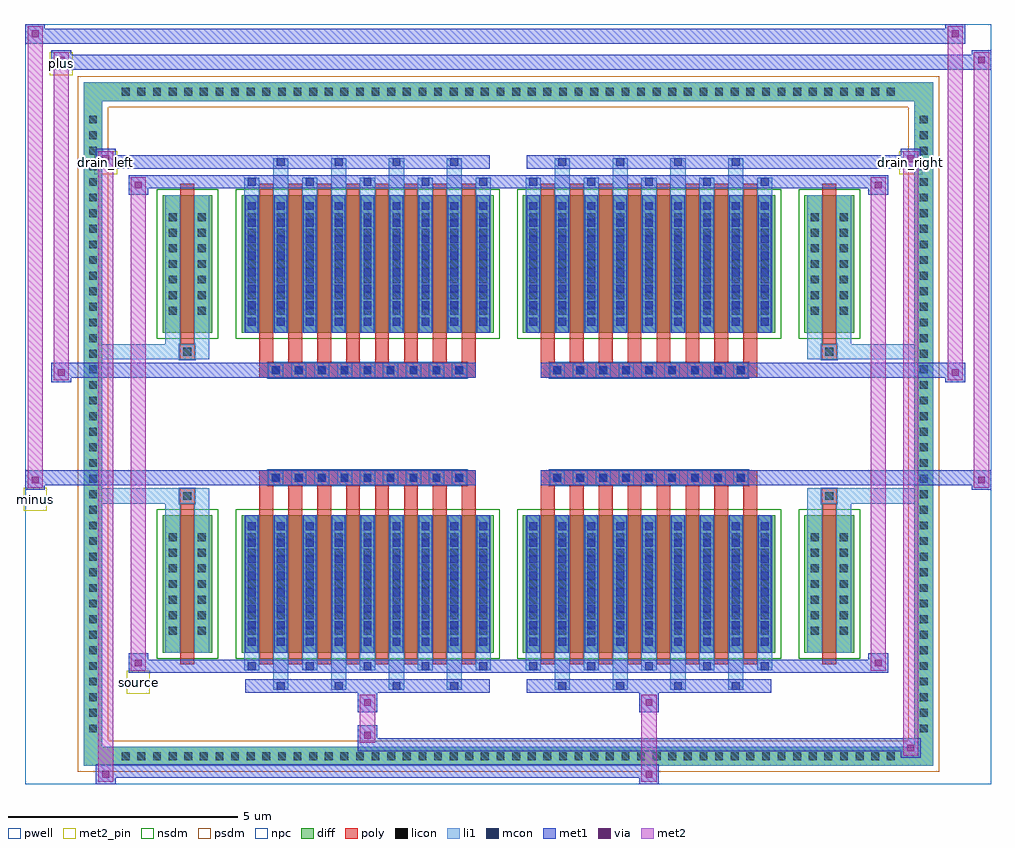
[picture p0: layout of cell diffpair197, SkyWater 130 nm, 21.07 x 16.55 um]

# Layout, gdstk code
import gdstk
lib = gdstk.Library(unit=1e-6, precision=5e-09)
def R(c, l, rs):  # rectangles x0, y0, x1, y1
    for r in rs: c.add(gdstk.rectangle(r[:2], r[2:], *l))
def A(c, l, x, y, w, h, nx, ny, dx, dy):  # array of equal rectangles
    R(c, l, [(x+i*dx, y+j*dy, x+i*dx+w, y+j*dy+h) for i in range(nx) for j in range(ny)])
def P(c, l, *ps):  # polygons
    for p in ps: c.add(gdstk.Polygon(p, *l))
pwell = (64, 44)
diff = (65, 20)
poly = (66, 20)
licon = (66, 44)
li1 = (67, 20)
mcon = (67, 44)
met1 = (68, 20)
via = (68, 44)
met2_pin = (69, 16)
met2 = (69, 20)
nsdm = (93, 44)
psdm = (94, 20)
npc = (95, 20)

diffpair197 = lib.new_cell('diffpair197')
R(diffpair197, pwell, [(-10.52,-7.84,10.52,8.71), (-7.84,-6.03,-0.01,-0.805), (0.01,-6.03,7.84,-0.805), (-7.84,0.805,-0.01,6.03), (0.01,0.805,7.84,6.03)])
A(diffpair197, diff, -8.535, -7.44, 0.41, 0.41, 50, 2, 0.34, 14.47)
A(diffpair197, diff, -9.25, -6.835, 0.41, 0.41, 1, 40, 0, 0.34)
A(diffpair197, diff, 8.84, -6.835, 0.41, 0.41, 1, 40, 0, 0.34)
R(diffpair197, diff, [(-8.535,-7.44,8.535,-7.03), (-9.25,-6.835,-8.84,6.835), (8.84,-6.835,9.25,6.835), (-7.53,-4.985,-6.45,-1.985), (-5.81,-4.985,-0.32,-1.985), (0.32,-4.985,5.81,-1.985), (6.45,-4.985,7.53,-1.985), (-7.53,1.985,-6.45,4.985), (-5.81,1.985,-0.32,4.985), (0.32,1.985,5.81,4.985), (6.45,1.985,7.53,4.985), (-8.535,7.03,8.535,7.44)])
P(diffpair197, diff, [(9.25,7.44),(-9.25,7.44),(-9.25,-7.03),(-8.84,-7.03),(-8.84,7.03),(8.84,7.03),(8.84,-7.03),(-8.84,-7.03),(-9.25,-7.03),(-9.25,-7.44),(9.25,-7.44)])
A(diffpair197, poly, -5.42, -5.235, 0.3, 3.5, 8, 2, 0.63, 6.97)
A(diffpair197, poly, 0.71, -5.235, 0.3, 3.5, 8, 2, 0.63, 6.97)
A(diffpair197, poly, -5.42, -1.735, 0.3, 0.4, 8, 2, 0.63, 3.07)
A(diffpair197, poly, 0.71, -1.735, 0.3, 0.4, 8, 2, 0.63, 3.07)
A(diffpair197, poly, -5.23, -1.335, 0.33, 0.33, 9, 2, 0.5, 2.34)
A(diffpair197, poly, 0.9, -1.335, 0.33, 0.33, 9, 2, 0.5, 2.34)
R(diffpair197, poly, [(-7.14,-5.235,-6.84,-1.735), (6.84,-5.235,7.14,-1.735), (-7.155,-1.735,-6.825,-1.405), (-7.155,-1.735,-6.825,-1.405), (6.825,-1.735,7.155,-1.405), (6.825,-1.735,7.155,-1.405), (-5.42,-1.335,-0.71,-1.005), (0.71,-1.335,5.42,-1.005), (-5.42,1.005,-0.71,1.335), (0.71,1.005,5.42,1.335), (-7.155,1.405,-6.825,1.735), (-7.155,1.405,-6.825,1.735), (6.825,1.405,7.155,1.735), (6.825,1.405,7.155,1.735), (-7.14,1.735,-6.84,5.235), (6.84,1.735,7.14,5.235)])
A(diffpair197, licon, -8.415, -7.32, 0.17, 0.17, 50, 2, 0.34, 14.47)
A(diffpair197, licon, -9.13, -6.715, 0.17, 0.17, 1, 40, 0, 0.34)
A(diffpair197, licon, 8.96, -6.715, 0.17, 0.17, 1, 40, 0, 0.34)
A(diffpair197, licon, -7.39, -4.59, 0.17, 0.17, 1, 7, 0, 0.34)
A(diffpair197, licon, -6.76, -4.59, 0.17, 0.17, 1, 7, 0, 0.34)
A(diffpair197, licon, -5.67, -4.59, 0.17, 0.17, 9, 7, 0.63, 0.34)
A(diffpair197, licon, 0.46, -4.59, 0.17, 0.17, 9, 7, 0.63, 0.34)
A(diffpair197, licon, 6.59, -4.59, 0.17, 0.17, 1, 7, 0, 0.34)
A(diffpair197, licon, 7.22, -4.59, 0.17, 0.17, 1, 7, 0, 0.34)
A(diffpair197, licon, -5.15, -1.255, 0.17, 0.17, 9, 2, 0.5, 2.34)
A(diffpair197, licon, 0.98, -1.255, 0.17, 0.17, 9, 2, 0.5, 2.34)
A(diffpair197, licon, -7.39, 2.38, 0.17, 0.17, 1, 7, 0, 0.34)
A(diffpair197, licon, -6.76, 2.38, 0.17, 0.17, 1, 7, 0, 0.34)
A(diffpair197, licon, -5.67, 2.38, 0.17, 0.17, 9, 7, 0.63, 0.34)
A(diffpair197, licon, 0.46, 2.38, 0.17, 0.17, 9, 7, 0.63, 0.34)
A(diffpair197, licon, 6.59, 2.38, 0.17, 0.17, 1, 7, 0, 0.34)
A(diffpair197, licon, 7.22, 2.38, 0.17, 0.17, 1, 7, 0, 0.34)
R(diffpair197, licon, [(-7.075,-1.655,-6.905,-1.485), (6.905,-1.655,7.075,-1.485), (-7.075,1.485,-6.905,1.655), (6.905,1.485,7.075,1.655)])
A(diffpair197, li1, -8.495, -7.4, 0.33, 0.33, 50, 2, 0.34, 14.47)
A(diffpair197, li1, -9.21, -6.795, 0.33, 0.33, 1, 40, 0, 0.34)
A(diffpair197, li1, 8.88, -6.795, 0.33, 0.33, 1, 40, 0, 0.34)
A(diffpair197, li1, -5.12, -5.79, 0.33, 0.805, 4, 2, 1.26, 10.775)
A(diffpair197, li1, -5.04, -5.79, 0.17, 0.17, 4, 2, 1.26, 11.41)
A(diffpair197, li1, 1.01, -5.79, 0.33, 0.805, 4, 2, 1.26, 10.775)
A(diffpair197, li1, 1.09, -5.79, 0.17, 0.17, 4, 2, 1.26, 11.41)
A(diffpair197, li1, -5.75, -5.36, 0.33, 0.375, 5, 2, 1.26, 10.345)
A(diffpair197, li1, -5.67, -5.36, 0.17, 0.17, 5, 2, 1.26, 10.55)
A(diffpair197, li1, 0.38, -5.36, 0.33, 0.375, 5, 2, 1.26, 10.345)
A(diffpair197, li1, 0.46, -5.36, 0.17, 0.17, 5, 2, 1.26, 10.55)
A(diffpair197, li1, -5.75, -4.985, 0.33, 3, 9, 2, 0.63, 6.97)
A(diffpair197, li1, 0.38, -4.985, 0.33, 3, 9, 2, 0.63, 6.97)
A(diffpair197, li1, -5.67, -4.83, 0.17, 0.17, 9, 8, 0.63, 0.36)
A(diffpair197, li1, -5.67, -4.83, 0.17, 2.69, 9, 2, 0.63, 6.97)
A(diffpair197, li1, 0.46, -4.83, 0.17, 0.17, 9, 8, 0.63, 0.36)
A(diffpair197, li1, 0.46, -4.83, 0.17, 2.69, 9, 2, 0.63, 6.97)
A(diffpair197, li1, -7.47, -4.67, 0.33, 0.33, 1, 7, 0, 0.34)
A(diffpair197, li1, -6.84, -4.67, 0.33, 0.33, 1, 7, 0, 0.34)
A(diffpair197, li1, -5.75, -4.67, 0.33, 0.33, 9, 7, 0.63, 0.34)
A(diffpair197, li1, 0.38, -4.67, 0.33, 0.33, 9, 7, 0.63, 0.34)
A(diffpair197, li1, 6.51, -4.67, 0.33, 0.33, 1, 7, 0, 0.34)
A(diffpair197, li1, 7.14, -4.67, 0.33, 0.33, 1, 7, 0, 0.34)
A(diffpair197, li1, -5.23, -1.335, 0.33, 0.33, 9, 2, 0.5, 2.34)
A(diffpair197, li1, 0.9, -1.335, 0.33, 0.33, 9, 2, 0.5, 2.34)
A(diffpair197, li1, -5.67, 2.14, 0.17, 0.17, 9, 8, 0.63, 0.36)
A(diffpair197, li1, 0.46, 2.14, 0.17, 0.17, 9, 8, 0.63, 0.36)
A(diffpair197, li1, -7.47, 2.3, 0.33, 0.33, 1, 7, 0, 0.34)
A(diffpair197, li1, -6.84, 2.3, 0.33, 0.33, 1, 7, 0, 0.34)
A(diffpair197, li1, -5.75, 2.3, 0.33, 0.33, 9, 7, 0.63, 0.34)
A(diffpair197, li1, 0.38, 2.3, 0.33, 0.33, 9, 7, 0.63, 0.34)
A(diffpair197, li1, 6.51, 2.3, 0.33, 0.33, 1, 7, 0, 0.34)
A(diffpair197, li1, 7.14, 2.3, 0.33, 0.33, 1, 7, 0, 0.34)
R(diffpair197, li1, [(-9.25,-7.44,-8.84,-7.03), (-9.25,-7.44,-8.84,-7.03), (-8.84,-7.44,8.84,-7.03), (8.84,-7.44,9.25,-7.03), (8.84,-7.44,9.25,-7.03), (-9.25,-7.03,-8.84,7.03), (8.84,-7.03,9.25,7.03), (-7.47,-4.985,-7.14,-1.985), (-6.84,-4.985,-6.51,-1.985), (6.51,-4.985,6.84,-1.985), (7.14,-4.985,7.47,-1.985), (-7.47,-1.985,-7.14,-1.405), (-6.84,-1.985,-6.51,-1.405), (6.51,-1.985,6.84,-1.405), (7.14,-1.985,7.47,-1.405), (-9.25,-1.735,-7.155,-1.405), (-7.47,-1.735,-7.155,-1.405), (-7.155,-1.735,-6.825,-1.405), (-6.825,-1.735,-6.51,-1.405), (6.51,-1.735,6.825,-1.405), (6.825,-1.735,7.155,-1.405), (6.825,-1.735,9.25,-1.405), (7.155,-1.735,7.47,-1.405), (-9.25,1.405,-7.155,1.735), (-7.47,1.405,-7.155,1.735), (-7.47,1.405,-7.14,1.985), (-7.155,1.405,-6.825,1.735), (-6.84,1.405,-6.51,1.985), (-6.825,1.405,-6.51,1.735), (6.51,1.405,6.825,1.735), (6.51,1.405,6.84,1.985), (6.825,1.405,7.155,1.735), (6.825,1.405,9.25,1.735), (7.14,1.405,7.47,1.985), (7.155,1.405,7.47,1.735), (-7.47,1.985,-7.14,4.985), (-6.84,1.985,-6.51,4.985), (6.51,1.985,6.84,4.985), (7.14,1.985,7.47,4.985), (-9.25,7.03,-8.84,7.44), (-9.25,7.03,-8.84,7.44), (-8.84,7.03,8.84,7.44), (8.84,7.03,9.25,7.44), (8.84,7.03,9.25,7.44)])
A(diffpair197, mcon, -5.04, -5.79, 0.17, 0.17, 4, 2, 1.26, 11.41)
A(diffpair197, mcon, 1.09, -5.79, 0.17, 0.17, 4, 2, 1.26, 11.41)
A(diffpair197, mcon, -5.67, -5.36, 0.17, 0.17, 5, 2, 1.26, 10.55)
A(diffpair197, mcon, 0.46, -5.36, 0.17, 0.17, 5, 2, 1.26, 10.55)
A(diffpair197, mcon, -5.67, -4.83, 0.17, 0.17, 9, 8, 0.63, 0.36)
A(diffpair197, mcon, 0.46, -4.83, 0.17, 0.17, 9, 8, 0.63, 0.36)
A(diffpair197, mcon, -5.15, -1.255, 0.17, 0.17, 9, 2, 0.5, 2.34)
A(diffpair197, mcon, 0.98, -1.255, 0.17, 0.17, 9, 2, 0.5, 2.34)
A(diffpair197, mcon, -5.67, 2.14, 0.17, 0.17, 9, 8, 0.63, 0.36)
A(diffpair197, mcon, 0.46, 2.14, 0.17, 0.17, 9, 8, 0.63, 0.36)
A(diffpair197, met1, -5.1, -5.85, 0.29, 0.29, 4, 2, 1.26, 11.41)
A(diffpair197, met1, 1.03, -5.85, 0.29, 0.29, 4, 2, 1.26, 11.41)
A(diffpair197, met1, -5.73, -5.42, 0.29, 0.29, 5, 2, 1.26, 10.55)
A(diffpair197, met1, 0.4, -5.42, 0.29, 0.29, 5, 2, 1.26, 10.55)
A(diffpair197, met1, -5.73, -4.985, 0.29, 3, 9, 2, 0.63, 6.97)
A(diffpair197, met1, 0.4, -4.985, 0.29, 3, 9, 2, 0.63, 6.97)
A(diffpair197, met1, -5.73, -4.89, 0.29, 0.29, 9, 8, 0.63, 0.36)
A(diffpair197, met1, 0.4, -4.89, 0.29, 0.29, 9, 8, 0.63, 0.36)
A(diffpair197, met1, -5.21, -1.315, 0.29, 0.29, 9, 2, 0.5, 2.34)
A(diffpair197, met1, 0.92, -1.315, 0.29, 0.29, 9, 2, 0.5, 2.34)
A(diffpair197, met1, -5.73, 2.08, 0.29, 0.29, 9, 8, 0.63, 0.36)
A(diffpair197, met1, 0.4, 2.08, 0.29, 0.29, 9, 8, 0.63, 0.36)
R(diffpair197, met1, [(-8.98,-7.84,-8.55,-7.41), (2.85,-7.84,3.28,-7.41), (-8.98,-7.7,3.28,-7.41), (8.55,-7.27,8.98,-6.84), (-3.28,-7.13,8.98,-6.84), (-3.28,-6.99,-2.85,-6.56), (-3.28,-6.28,-2.85,-5.85), (2.85,-6.28,3.28,-5.85), (-5.73,-5.85,-0.4,-5.56), (0.4,-5.85,5.73,-5.56), (-8.27,-5.42,-7.84,-4.99), (-8.27,-5.42,-5.73,-5.13), (-5.73,-5.42,-0.4,-5.13), (-0.4,-5.42,0.4,-5.13), (0.4,-5.42,5.73,-5.13), (5.73,-5.42,8.27,-5.13), (7.84,-5.42,8.27,-4.99), (-10.52,-1.435,-10.09,-1.005), (10.09,-1.435,10.52,-1.005), (-10.52,-1.335,-0.71,-1.005), (-5.42,-1.335,-0.71,-1.005), (0.71,-1.335,5.42,-1.005), (0.71,-1.335,10.52,-1.005), (-9.95,0.905,-9.52,1.335), (9.52,0.905,9.95,1.335), (-9.95,1.005,-5.42,1.335), (-5.42,1.005,-0.71,1.335), (0.71,1.005,5.42,1.335), (5.42,1.005,9.95,1.335), (-8.27,4.99,-7.84,5.42), (7.84,4.99,8.27,5.42), (-8.27,5.13,-5.73,5.42), (-5.73,5.13,-0.4,5.42), (-0.4,5.13,0.4,5.42), (0.4,5.13,5.73,5.42), (5.73,5.13,8.27,5.42), (-8.98,5.56,-8.55,5.99), (-8.98,5.56,-5.73,5.85), (-5.73,5.56,-0.4,5.85), (0.4,5.56,5.73,5.85), (5.73,5.56,8.98,5.85), (8.55,5.56,8.98,5.99), (-9.95,7.71,-9.52,8.14), (-9.95,7.71,-7.84,8.04), (-7.84,7.71,7.84,8.04), (7.84,7.71,10.52,8.04), (10.09,7.71,10.52,8.14), (-10.52,8.28,-10.09,8.71), (-10.52,8.28,-7.84,8.61), (-7.84,8.28,7.84,8.61), (7.84,8.28,9.95,8.61), (9.52,8.28,9.95,8.71)])
R(diffpair197, via, [(-8.84,-7.7,-8.69,-7.55), (2.99,-7.7,3.14,-7.55), (8.69,-7.13,8.84,-6.98), (-3.14,-6.85,-2.99,-6.7), (-3.14,-6.14,-2.99,-5.99), (2.99,-6.14,3.14,-5.99), (-8.13,-5.28,-7.98,-5.13), (7.98,-5.28,8.13,-5.13), (-10.38,-1.295,-10.23,-1.145), (10.23,-1.295,10.38,-1.145), (-9.81,1.045,-9.66,1.195), (9.66,1.045,9.81,1.195), (-8.13,5.13,-7.98,5.28), (7.98,5.13,8.13,5.28), (-8.84,5.7,-8.69,5.85), (8.69,5.7,8.84,5.85), (-9.81,7.85,-9.66,8), (10.23,7.85,10.38,8), (-10.38,8.42,-10.23,8.57), (9.66,8.42,9.81,8.57)])
R(diffpair197, met2_pin, [(-8.305,-5.87,-7.805,-5.37), (-10.555,-1.885,-10.055,-1.385), (-9.015,5.44,-8.515,5.94), (8.515,5.44,9.015,5.94), (-9.985,7.59,-9.485,8.09)])
R(diffpair197, met2, [(-8.93,-7.79,-8.6,-7.46), (-8.93,-7.79,-8.6,5.94), (2.9,-7.79,3.23,-7.46), (2.9,-7.46,3.23,-6.23), (8.6,-7.22,8.93,-6.89), (8.6,-7.22,8.93,5.94), (-3.23,-6.94,-2.9,-6.61), (-3.23,-6.61,-2.9,-6.23), (-3.23,-6.23,-2.9,-5.9), (2.9,-6.23,3.23,-5.9), (-8.22,-5.37,-7.89,-5.04), (-8.22,-5.37,-7.89,5.37), (7.89,-5.37,8.22,-5.04), (7.89,-5.37,8.22,5.37), (-10.47,-1.385,-10.14,-1.055), (-10.47,-1.385,-10.14,8.66), (10.14,-1.385,10.47,-1.055), (10.14,-1.385,10.47,8.09), (-9.9,0.955,-9.57,1.285), (-9.9,0.955,-9.57,8.09), (9.57,0.955,9.9,1.285), (9.57,0.955,9.9,8.66), (-8.22,5.04,-7.89,5.37), (7.89,5.04,8.22,5.37), (-8.93,5.61,-8.6,5.94), (8.6,5.61,8.93,5.94), (-9.9,7.76,-9.57,8.09), (10.14,7.76,10.47,8.09), (-10.47,8.33,-10.14,8.66), (9.57,8.33,9.9,8.66)])
P(diffpair197, met2, [(10.47,-1.385),(10.47,-1.385),(10.47,-1.055),(10.47,-1.055)],
  [(10.47,7.76),(10.47,7.76),(10.47,8.09),(10.47,8.09)],
  [(-10.14,-1.385),(-10.14,-1.385),(-10.14,-1.055),(-10.14,-1.055)],
  [(-10.14,8.33),(-10.14,8.33),(-10.14,8.66),(-10.14,8.66)],
  [(9.9,0.955),(9.9,0.955),(9.9,1.285),(9.9,1.285)],
  [(9.9,8.33),(9.9,8.33),(9.9,8.66),(9.9,8.66)],
  [(-9.57,0.955),(-9.57,0.955),(-9.57,1.285),(-9.57,1.285)],
  [(-9.57,7.76),(-9.57,7.76),(-9.57,8.09),(-9.57,8.09)],
  [(-8.6,-7.79),(-8.6,-7.79),(-8.6,-7.46),(-8.6,-7.46)],
  [(-8.6,5.61),(-8.6,5.61),(-8.6,5.94),(-8.6,5.94)],
  [(8.93,-7.22),(8.93,-7.22),(8.93,-6.89),(8.93,-6.89)],
  [(8.93,5.61),(8.93,5.61),(8.93,5.94),(8.93,5.94)],
  [(-7.89,-5.37),(-7.89,-5.37),(-7.89,-5.04),(-7.89,-5.04)],
  [(-7.89,5.04),(-7.89,5.04),(-7.89,5.37),(-7.89,5.37)],
  [(8.22,-5.37),(8.22,-5.37),(8.22,-5.04),(8.22,-5.04)],
  [(8.22,5.04),(8.22,5.04),(8.22,5.37),(8.22,5.37)])
R(diffpair197, nsdm, [(-7.66,-5.115,-6.32,-1.855), (-5.94,-5.115,-0.19,-1.855), (0.19,-5.115,5.94,-1.855), (6.32,-5.115,7.66,-1.855), (-7.66,1.855,-6.32,5.115), (-5.94,1.855,-0.19,5.115), (0.19,1.855,5.94,5.115), (6.32,1.855,7.66,5.115)])
P(diffpair197, psdm, [(9.38,7.57),(-9.38,7.57),(-9.38,-6.9),(-8.71,-6.9),(-8.71,6.9),(8.71,6.9),(8.71,-6.9),(-8.71,-6.9),(-9.38,-6.9),(-9.38,-7.57),(9.38,-7.57)])
A(diffpair197, npc, -5.25, -1.355, 0.37, 0.37, 9, 2, 0.5, 2.34)
A(diffpair197, npc, 0.88, -1.355, 0.37, 0.37, 9, 2, 0.5, 2.34)
R(diffpair197, npc, [(-7.175,-1.755,-6.805,-1.385), (6.805,-1.755,7.175,-1.385), (-5.25,-1.355,-4.38,-0.985), (-5.25,-1.355,-4.38,-0.985), (-4.75,-1.355,-3.88,-0.985), (-4.75,-1.355,-3.88,-0.985), (-4.25,-1.355,-3.38,-0.985), (-4.25,-1.355,-3.38,-0.985), (-3.75,-1.355,-2.88,-0.985), (-3.75,-1.355,-2.88,-0.985), (-3.25,-1.355,-2.38,-0.985), (-3.25,-1.355,-2.38,-0.985), (-2.75,-1.355,-1.88,-0.985), (-2.75,-1.355,-1.88,-0.985), (-2.25,-1.355,-1.38,-0.985), (-2.25,-1.355,-1.38,-0.985), (-1.75,-1.355,-0.88,-0.985), (-1.75,-1.355,-0.88,-0.985), (0.88,-1.355,1.75,-0.985), (0.88,-1.355,1.75,-0.985), (1.38,-1.355,2.25,-0.985), (1.38,-1.355,2.25,-0.985), (1.88,-1.355,2.75,-0.985), (1.88,-1.355,2.75,-0.985), (2.38,-1.355,3.25,-0.985), (2.38,-1.355,3.25,-0.985), (2.88,-1.355,3.75,-0.985), (2.88,-1.355,3.75,-0.985), (3.38,-1.355,4.25,-0.985), (3.38,-1.355,4.25,-0.985), (3.88,-1.355,4.75,-0.985), (3.88,-1.355,4.75,-0.985), (4.38,-1.355,5.25,-0.985), (4.38,-1.355,5.25,-0.985), (-5.25,0.985,-4.38,1.355), (-5.25,0.985,-4.38,1.355), (-4.75,0.985,-3.88,1.355), (-4.75,0.985,-3.88,1.355), (-4.25,0.985,-3.38,1.355), (-4.25,0.985,-3.38,1.355), (-3.75,0.985,-2.88,1.355), (-3.75,0.985,-2.88,1.355), (-3.25,0.985,-2.38,1.355), (-3.25,0.985,-2.38,1.355), (-2.75,0.985,-1.88,1.355), (-2.75,0.985,-1.88,1.355), (-2.25,0.985,-1.38,1.355), (-2.25,0.985,-1.38,1.355), (-1.75,0.985,-0.88,1.355), (-1.75,0.985,-0.88,1.355), (0.88,0.985,1.75,1.355), (0.88,0.985,1.75,1.355), (1.38,0.985,2.25,1.355), (1.38,0.985,2.25,1.355), (1.88,0.985,2.75,1.355), (1.88,0.985,2.75,1.355), (2.38,0.985,3.25,1.355), (2.38,0.985,3.25,1.355), (2.88,0.985,3.75,1.355), (2.88,0.985,3.75,1.355), (3.38,0.985,4.25,1.355), (3.38,0.985,4.25,1.355), (3.88,0.985,4.75,1.355), (3.88,0.985,4.75,1.355), (4.38,0.985,5.25,1.355), (4.38,0.985,5.25,1.355), (-7.175,1.385,-6.805,1.755), (6.805,1.385,7.175,1.755)])
diffpair197.add(gdstk.Label('minus', (-10.305,-1.635), layer=69, texttype=5))
diffpair197.add(gdstk.Label('drain_right', (8.765,5.69), layer=69, texttype=5))
diffpair197.add(gdstk.Label('drain_left', (-8.765,5.69), layer=69, texttype=5))
diffpair197.add(gdstk.Label('source', (-8.055,-5.62), layer=69, texttype=5))
diffpair197.add(gdstk.Label('plus', (-9.735,7.84), layer=69, texttype=5))

lib.write_gds('diffpair197.gds')
